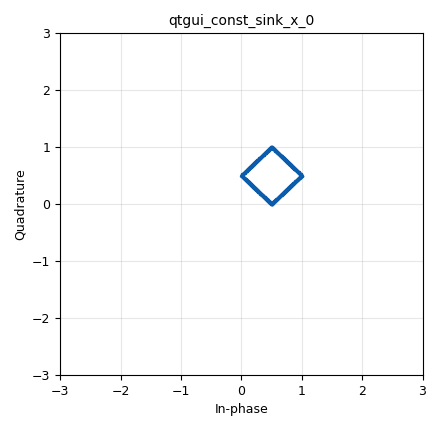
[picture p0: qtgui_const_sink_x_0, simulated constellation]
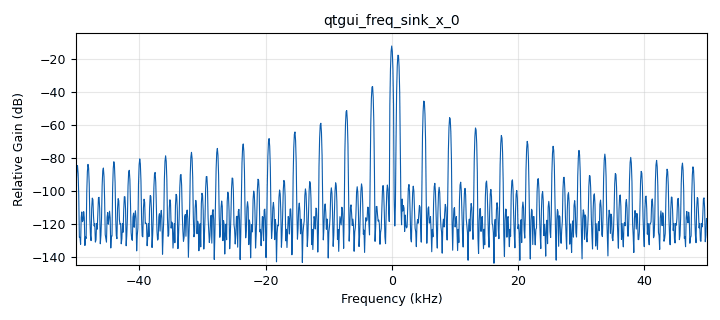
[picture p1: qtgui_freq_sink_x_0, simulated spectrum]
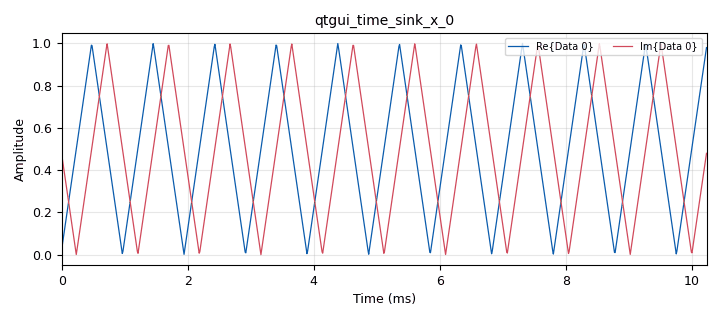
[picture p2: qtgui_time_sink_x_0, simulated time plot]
options:
  parameters:
    generate_options: qt_gui
    id: ComplexPlot
    output_language: python
    title: ComplexPlot
  states: {}

blocks:
- name: freq
  id: variable_qtgui_range
  parameters:
    start: '-100e3'
    step: '1'
    stop: 100e3
    value: '1024'
  states: {}
- name: samp_rate
  id: variable
  parameters:
    value: 100e3
  states: {}
- name: analog_sig_source_x_0
  id: analog_sig_source_x
  parameters:
    amp: '1'
    freq: freq
    offset: '0'
    phase: '0'
    samp_rate: samp_rate
    type: complex
    waveform: analog.GR_TRI_WAVE
  states: {}
- name: blocks_throttle2_0
  id: blocks_throttle2
  parameters:
    samples_per_second: samp_rate
    type: complex
  states: {}
- name: qtgui_const_sink_x_0
  id: qtgui_const_sink_x
  parameters:
    grid: 'True'
    size: '1024'
    type: complex
    xmax: '3'
    xmin: '-3'
    ymax: '3'
    ymin: '-3'
  states: {}
- name: qtgui_freq_sink_x_0
  id: qtgui_freq_sink_x
  parameters:
    autoscale: 'True'
    bw: samp_rate
    ctrlpanel: 'True'
    fc: '0'
    fftsize: '1024'
    grid: 'True'
    type: complex
  states: {}
- name: qtgui_time_sink_x_0
  id: qtgui_time_sink_x
  parameters:
    autoscale: 'True'
    ctrlpanel: 'True'
    grid: 'True'
    size: '1024'
    srate: samp_rate
    type: complex
  states: {}

connections:
- [analog_sig_source_x_0, '0', blocks_throttle2_0, '0']
- [blocks_throttle2_0, '0', qtgui_const_sink_x_0, '0']
- [blocks_throttle2_0, '0', qtgui_freq_sink_x_0, '0']
- [blocks_throttle2_0, '0', qtgui_time_sink_x_0, '0']

metadata:
  file_format: 1
  grc_version: 3.10.9.2
